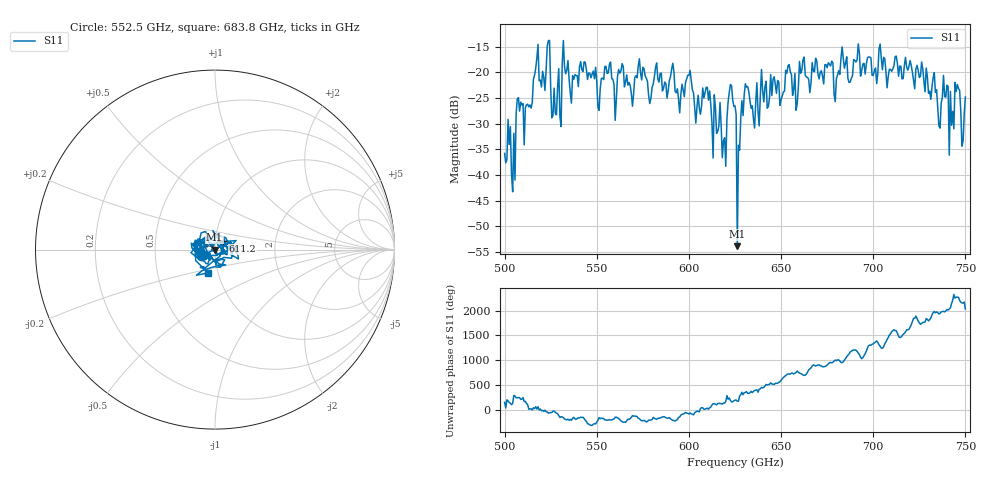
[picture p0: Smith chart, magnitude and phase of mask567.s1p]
!Created with skrf (http://scikit-rf.org).
# GHz S MA R 50.0
!freq magS11 angS11
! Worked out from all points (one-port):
!   401 points, 500 GHz to 750 GHz, reference 50 ohm
!   lowest |S11| = -53.9 dB at 626.2 GHz (marker M1), VSWR 1.00, Z = 49.8 + j0.00176 ohm
!   |S11| at or under -10 dB: start of sweep to end of sweep
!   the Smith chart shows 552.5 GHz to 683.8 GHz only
!   S11 on the Smith chart (normalised r, x): 552.5 GHz: 0.85, -0.06; 611.2 GHz: 1.09, +0.11; 683.8 GHz: 0.89, -0.24
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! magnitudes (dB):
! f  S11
! 500 GHz  -35.8
! 505 GHz  -31.9
! 507.5 GHz  -24.9
! 511.9 GHz  -26.3
! 516.9 GHz  -19.3
! 523.8 GHz  -13.8
! 526.9 GHz  -23.1
! 531.2 GHz  -18.5
! 552.5 GHz  -21.2
! 562.5 GHz  -20.2
! 593.8 GHz  -23.2
! 600 GHz  -20.6
! 611.2 GHz  -23.6
! 618.8 GHz  -33.3
! 623.1 GHz  -22.6
! 625 GHz  -26.6
! 626.2 GHz  -53.9
! 631.2 GHz  -22.9
! 635 GHz  -29.0
! 656.2 GHz  -24.5
! 683.8 GHz  -17.3
! 687.5 GHz  -21.9
! 718.8 GHz  -19.6
! 736.2 GHz  -30.9
! 739.4 GHz  -24.9
! 742.5 GHz  -30.3
! 745.6 GHz  -22.4
! 750 GHz  -24.8
